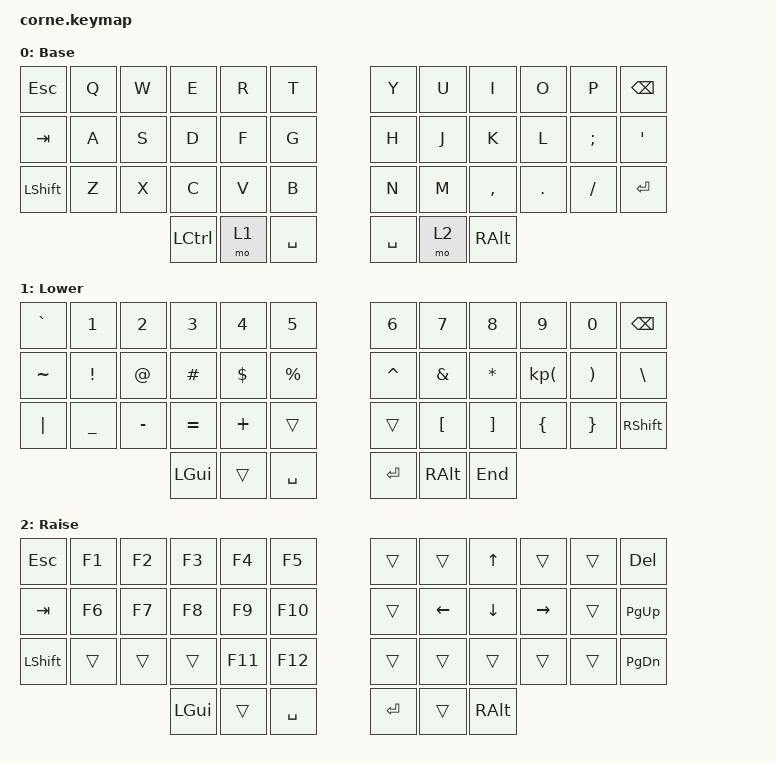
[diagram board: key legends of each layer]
/*
 * Copyright (c) 2020 The ZMK Contributors
 *
 * SPDX-License-Identifier: MIT
 */

#include <behaviors.dtsi>
#include <dt-bindings/zmk/keys.h>

/ {
    keymap {
        compatible = "zmk,keymap";

        default_layer {
            // -----------------------------------------------------------------------------------------
            // |  TAB |  Q  |  W  |  E  |  R  |  T  |   |  Y  |  U   |  I  |  O  |  P  | BKSP |
            // | CTRL |  A  |  S  |  D  |  F  |  G  |   |  H  |  J   |  K  |  L  |  ;  |  '   |
            // | SHFT |  Z  |  X  |  C  |  V  |  B  |   |  N  |  M   |  ,  |  .  |  /  | ESC  |
            //                    | GUI | LWR | SPC |   | ENT | RSE  | ALT |

            display-name = "Base";
            bindings = <
&kp ESCAPE  &kp Q  &kp W  &kp E      &kp R  &kp T        &kp Y      &kp U  &kp I      &kp O    &kp P     &kp BSPC
&kp TAB     &kp A  &kp S  &kp D      &kp F  &kp G        &kp H      &kp J  &kp K      &kp L    &kp SEMI  &kp SQT
&kp LSHFT   &kp Z  &kp X  &kp C      &kp V  &kp B        &kp N      &kp M  &kp COMMA  &kp DOT  &kp FSLH  &kp ENTER
                          &kp LCTRL  &mo 1  &kp SPACE    &kp SPACE  &mo 2  &kp RALT
            >;
        };

        lower_layer {
            // -----------------------------------------------------------------------------------------
            // |  TAB |  1  |  2  |  3  |  4  |  5  |   |  6  |  7  |  8  |  9  |  0  | BKSP |
            // | BTCLR| BT1 | BT2 | BT3 | BT4 | BT5 |   | LFT | DWN |  UP | RGT |     |      |
            // | SHFT |     |     |     |     |     |   |     |     |     |     |     |      |
            //                    | GUI |     | SPC |   | ENT |     | ALT |

            display-name = "Lower";
            bindings = <
&kp GRAVE  &kp N1     &kp N2     &kp N3     &kp N4      &kp N5         &kp N6     &kp N7            &kp N8             &kp N9                   &kp N0                 &kp BSPC
&kp TILDE  &kp EXCL   &kp AT     &kp HASH   &kp DOLLAR  &kp PERCENT    &kp CARET  &kp AMPS          &kp STAR           &kp KP_LEFT_PARENTHESIS  &kp RIGHT_PARENTHESIS  &kp BACKSLASH
&kp PIPE   &kp UNDER  &kp MINUS  &kp EQUAL  &kp PLUS    &trans         &trans     &kp LEFT_BRACKET  &kp RIGHT_BRACKET  &kp LEFT_BRACE           &kp RIGHT_BRACE        &kp RIGHT_SHIFT
                                 &kp LGUI   &trans      &kp SPACE      &kp RET    &kp RIGHT_ALT     &kp END
            >;
        };

        raise_layer {
            // -----------------------------------------------------------------------------------------
            // |  TAB |  !  |  @  |  #  |  $  |  %  |   |  ^  |  &  |  *  |  (  |  )  | BKSP |
            // | CTRL |     |     |     |     |     |   |  -  |  =  |  [  |  ]  |  \  |  `   |
            // | SHFT |     |     |     |     |     |   |  _  |  +  |  {  |  }  | "|" |  ~   |
            //                    | GUI |     | SPC |   | ENT |     | ALT |

            display-name = "Raise";
            bindings = <
&kp ESC    &kp F1  &kp F2  &kp F3    &kp F4   &kp F5       &trans   &trans          &kp UP_ARROW  &trans           &trans  &kp DEL
&kp TAB    &kp F6  &kp F7  &kp F8    &kp F9   &kp F10      &trans   &kp LEFT_ARROW  &kp DOWN      &kp RIGHT_ARROW  &trans  &kp PAGE_UP
&kp LSHFT  &trans  &trans  &trans    &kp F11  &kp F12      &trans   &trans          &trans        &trans           &trans  &kp PAGE_DOWN
                           &kp LGUI  &trans   &kp SPACE    &kp RET  &trans          &kp RALT
            >;
        };
    };
};
